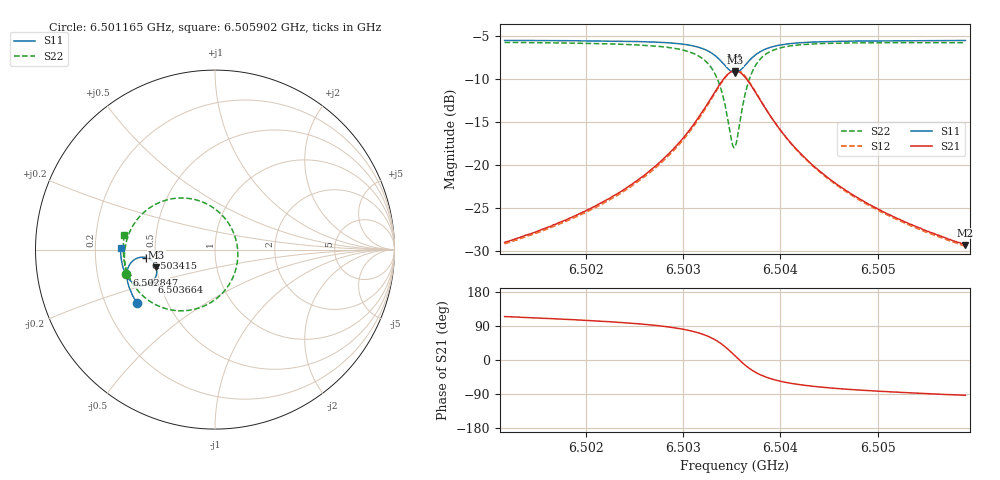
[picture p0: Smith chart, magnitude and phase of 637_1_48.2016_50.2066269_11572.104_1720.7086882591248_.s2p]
#  HZ  S  RI  R  50.00
! Rohde & Schwarz Vector Network Analyzer
! Rohde-Schwarz,ZNB20-2Port,1311601062101988,3.16
! Created: UTC 3/20/2024, 12:04:39 PM
! freq[Hz]  re:S11  im:S11  re:S21  im:S21  re:S12  im:S12  re:S22  im:S22
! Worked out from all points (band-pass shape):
!   401 points, 6.501165 GHz to 6.505902 GHz, reference 50 ohm
!   highest |S21| = -9.08 dB at 6.503534 GHz (marker M1); lowest = -29.3 dB at 6.505902 GHz (marker M2)
!   |S21| within 3 dB of the highest: 6.503297 GHz to 6.503771 GHz (473.5 kHz wide, 0.00728 % of centre)
!   lowest |S11| = -9.3 dB at 6.503534 GHz (marker M3), VSWR 2.04, Z = 24.9 - j5.58 ohm
!   |S11| at or under -10 dB: nowhere
!   |S22| runs from -18.0 to -5.8 dB; largest |S21 - S12| = 0.013
!   S11 on the Smith chart (normalised r, x): 6.501165 GHz: 0.34, -0.27; 6.502847 GHz: 0.33, -0.12; 6.503415 GHz: 0.44, -0.05; 6.503664 GHz: 0.46, -0.19; 6.505902 GHz: 0.31, +0.01
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6.5011652e9  -0.4364 -0.2948  -0.0147 0.0323  -0.013 0.0324  -0.4948 -0.1364
6.5019587e9  -0.4691 -0.2343  -0.0137 0.051  -0.0114 0.0505  -0.5049 -0.0485
6.502385e9  -0.4833 -0.1951  -0.0107 0.0708  -0.00754 0.0696  -0.5 0.0153
6.5027522e9  -0.491 -0.1525  -0.000444 0.1025  0.00334 0.1  -0.4774 0.0937
6.5028469e9  -0.4912 -0.1392  0.00534 0.115  0.00933 0.112  -0.4645 0.1205
6.5030482e9  -0.4855 -0.1046  0.0301 0.1516  0.0341 0.1468  -0.4131 0.1913
6.5031904e9  -0.469 -0.074  0.0717 0.1866  0.0746 0.1805  -0.333 0.2515
6.5033206e9  -0.4316 -0.0471  0.1515 0.2129  0.1525 0.2063  -0.188 0.2876
6.5034154e9  -0.3832 -0.0449  0.2461 0.1953  0.2466 0.1904  -0.024 0.2422
6.5034983e9  -0.3388 -0.0758  0.327 0.1176  0.33 0.1133  0.1054 0.0893
6.5035338e9  -0.3276 -0.0989  0.3451 0.0671  0.3493 0.0613  0.1268 -0.00583
6.5035575e9  -0.3245 -0.1158  0.3484 0.0311  0.3531 0.024  0.1242 -0.0719
6.503593e9  -0.3267 -0.1409  0.3407 -0.0209  0.3448 -0.0306  0.0957 -0.1644
6.5036641e9  -0.35 -0.1796  0.292 -0.1  0.2922 -0.1124  -0.0192 -0.2925
6.5037588e9  -0.3924 -0.2001  0.2107 -0.1444  0.2055 -0.1557  -0.1852 -0.3409
6.5038299e9  -0.4195 -0.2001  0.1612 -0.1498  0.1541 -0.1584  -0.2776 -0.328
6.5039128e9  -0.4434 -0.1928  0.1192 -0.1434  0.1118 -0.1496  -0.3512 -0.2954
6.5040786e9  -0.4732 -0.1715  0.0696 -0.1216  0.0628 -0.1243  -0.4319 -0.226
6.5043273e9  -0.496 -0.1402  0.0356 -0.0938  0.0305 -0.0945  -0.4809 -0.1462
6.5046944e9  -0.512 -0.1004  0.0154 -0.0682  0.0119 -0.0678  -0.5048 -0.0677
6.5051208e9  -0.5212 -0.0601  0.00548 -0.0511  0.00296 -0.0505  -0.5112 -0.00384
6.5059025e9  -0.5264 0.00699  -0.00188 -0.0343  -0.00336 -0.0336  -0.5046 0.0824
